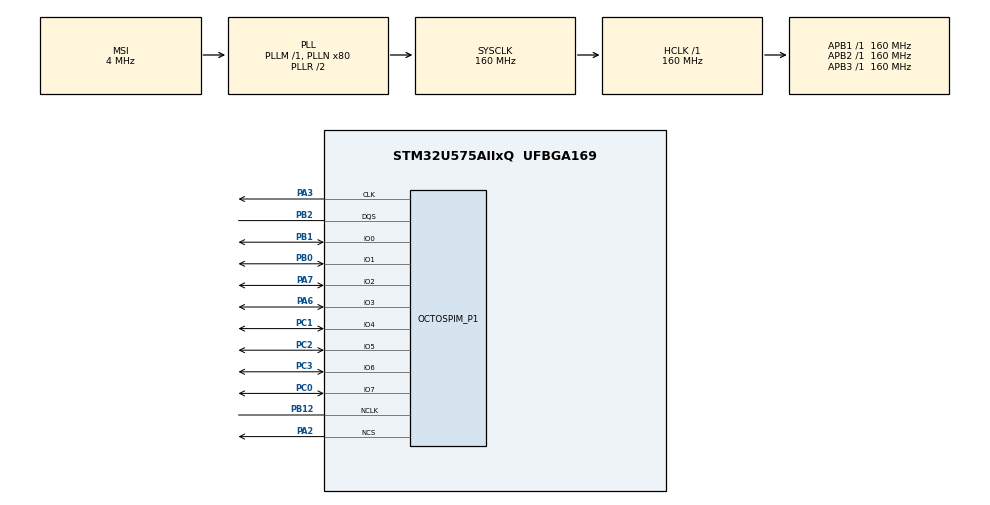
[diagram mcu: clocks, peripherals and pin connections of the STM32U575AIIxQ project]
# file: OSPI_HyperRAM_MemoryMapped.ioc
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CORTEX_M33_NS.userName=CORTEX_M33
DCACHE1.DCACHE_Read_Burst_Type=DCACHE_READ_BURST_INCR
Mcu.Family=STM32U5
Mcu.Name=STM32U575AIIxQ
Mcu.Package=UFBGA169
NVIC.OCTOSPI1_IRQn=true\:0\:0\:false\:false\:true\:true\:true\:true
NVIC.PriorityGroup=NVIC_PRIORITYGROUP_4
OCTOSPI1.ClockPrescaler=4
OCTOSPI1.DelayBlockBypass=HAL_OSPI_DELAY_BLOCK_USED
OCTOSPI1.DelayHoldQuarterCycle=HAL_OSPI_DHQC_ENABLE
OCTOSPI1.DeviceSize=23
OCTOSPI1.FifoThreshold=2
OCTOSPI1.PhaseSel=0x2
OCTOSPI1.Units=0x38
PA2.GPIO_PuPd=GPIO_NOPULL
PA2.GPIO_Speed_High_Default=GPIO_SPEED_FREQ_HIGH
PA2.Mode=OCTOSPI1_Port1_NCS
PA2.Signal=OCTOSPIM_P1_NCS
PA3.GPIO_Speed_High_Default=GPIO_SPEED_FREQ_HIGH
PA3.Mode=O1_P1_CLK
PA3.Signal=OCTOSPIM_P1_CLK
PA6.GPIO_Speed_High_Default=GPIO_SPEED_FREQ_HIGH
PA6.Mode=OCTOSPI1_IOL_Port1L
PA6.Signal=OCTOSPIM_P1_IO3
PA7.GPIO_Speed_High_Default=GPIO_SPEED_FREQ_HIGH
PA7.Mode=OCTOSPI1_IOL_Port1L
PA7.Signal=OCTOSPIM_P1_IO2
PB0.GPIO_Speed_High_Default=GPIO_SPEED_FREQ_HIGH
PB0.Mode=OCTOSPI1_IOL_Port1L
PB0.Signal=OCTOSPIM_P1_IO1
PB1.GPIO_Speed_High_Default=GPIO_SPEED_FREQ_HIGH
PB1.Mode=OCTOSPI1_IOL_Port1L
PB1.Signal=OCTOSPIM_P1_IO0
PB12.GPIO_Speed_High_Default=GPIO_SPEED_FREQ_HIGH
PB12.Mode=OCTOSPI1_Port1_NCLK
PB12.Signal=OCTOSPIM_P1_NCLK
PB2.GPIO_PuPd=GPIO_NOPULL
PB2.GPIO_Speed_High_Default=GPIO_SPEED_FREQ_HIGH
PB2.Mode=OCTOSPI1_Port1_DQS
PB2.Signal=OCTOSPIM_P1_DQS
PC0.GPIO_Speed_High_Default=GPIO_SPEED_FREQ_HIGH
PC0.Mode=OCTOSPI1_IOH_Port1H
PC0.Signal=OCTOSPIM_P1_IO7
PC1.GPIO_Speed_High_Default=GPIO_SPEED_FREQ_HIGH
PC1.Mode=OCTOSPI1_IOH_Port1H
PC1.Signal=OCTOSPIM_P1_IO4
PC2.GPIO_Speed_High_Default=GPIO_SPEED_FREQ_HIGH
PC2.Mode=OCTOSPI1_IOH_Port1H
PC2.Signal=OCTOSPIM_P1_IO5
PC3.GPIO_Speed_High_Default=GPIO_SPEED_FREQ_HIGH
PC3.Mode=OCTOSPI1_IOH_Port1H
PC3.Signal=OCTOSPIM_P1_IO6
PWR.PowerMode=PWR_SMPS_SUPPLY
ProjectManager.HeapSize=0x200
ProjectManager.StackSize=0x1000
ProjectManager.TargetToolchain=EWARM V8.50
RCC.ADCFreq_Value=16000000
RCC.AHBFreq_Value=160000000
RCC.APB1Freq_Value=160000000
RCC.APB1TimFreq_Value=160000000
RCC.APB2Freq_Value=160000000
RCC.APB2TimFreq_Value=160000000
RCC.APB3Freq_Value=160000000
RCC.CortexFreq_Value=160000000
RCC.DACCLockSelectionVirtual=RCC_DAC1CLKSOURCE_LSI
RCC.DACCLockSelectionVirtualString=RCC_DAC1CLKSOURCE_LSI
RCC.EPOD_VALUE=4000000
RCC.HCLKFreq_Value=160000000
RCC.HSE_VALUE=16000000
RCC.HSI48_VALUE=48000000
RCC.HSI_VALUE=16000000
RCC.LSE_VALUE=32768
RCC.LSIDIV_VALUE=32000
RCC.MSI_VALUE=4000000
RCC.PLLN=80
RCC.SYSCLKFreq_VALUE=160000000
RCC.SYSCLKSource=RCC_SYSCLKSOURCE_PLLCLK
RCC.USBFreq_Value=48000000
RCC.VCOOutputFreq_Value=320000000
VP_DCACHE1_VS_DCACHE.Mode=DCACHE_Activate
VP_ICACHE_VS_ICACHE.Mode=DirectMappedCache
VP_LPBAMQUEUE_VS_QUEUE.Mode=QUEUEMODE
VP_LPBAM_VS_SIG1.Mode=SmartRun
VP_LPBAM_VS_SIG4.Mode=LPDMA1
VP_OCTOSPI1_VS_hyperbus.Mode=hyperbus_mode
VP_PWR_VS_DBSignals.Mode=DisableDeadBatterySignals
VP_PWR_VS_LPOM.Mode=PowerOptimisation
VP_PWR_VS_SECSignals.Mode=Security/Privilege
board=custom

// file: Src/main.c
/* USER CODE BEGIN Header */
/**
  ******************************************************************************
  * @file           : main.c
  * @brief          : Main program body
  ******************************************************************************
  * @attention
  *
  * Copyright (c) 2021 STMicroelectronics.
  * All rights reserved.
  *
  * This software is licensed under terms that can be found in the LICENSE file
  * in the root directory of this software component.
  * If no LICENSE file comes with this software, it is provided AS-IS.
  *
  ******************************************************************************
  */
/* USER CODE END Header */
#include "main.h"

DCACHE_HandleTypeDef hdcache1;

OSPI_HandleTypeDef hospi1;

/* USER CODE BEGIN PV */
__IO uint8_t CmdCplt;
LL_DLYB_CfgTypeDef dlyb_cfg,dlyb_cfg_test;

/* Buffer used for transmission */
uint8_t aTxBuffer[] = " ****Memory-mapped OSPI communication****  ****Memory-mapped OSPI communication****  ****Memory-mapped OSPI communication****  ****Memory-mapped OSPI communication****  ****Memory-mapped OSPI communication****  ****Memory-mapped OSPI communication**** ";
  OSPI_HyperbusCfgTypeDef sHyperbusCfg = {0};
  OSPI_HyperbusCmdTypeDef sCommand = {0};
  OSPI_MemoryMappedTypeDef sMemMappedCfg = {0};

  uint32_t address = 0;
  uint16_t index_buffer;
  __IO uint8_t *mem_addr;
/* USER CODE END PV */

void SystemClock_Config(void);
static void SystemPower_Config(void);
static void MX_GPIO_Init(void);
static void MX_DCACHE1_Init(void);
static void MX_ICACHE_Init(void);
static void MX_OCTOSPI1_Init(void);

int main(void)
{

  /* USER CODE BEGIN 1 */
  /* STM32U5xx HAL library initialization:
  - Configure the Flash prefetch
  - Configure the Systick to generate an interrupt each 1 msec
  - Set NVIC Group Priority to 3
  - Low Level Initialization
  */
  /* USER CODE END 1 */

  /* MCU Configuration--------------------------------------------------------*/

  /* Reset of all peripherals, Initializes the Flash interface and the Systick. */
  HAL_Init();

  /* Configure the System Power */
  SystemPower_Config();

  /* Configure the system clock */
  SystemClock_Config();

  /* Initialize all configured peripherals */
  MX_GPIO_Init();
  MX_DCACHE1_Init();
  MX_ICACHE_Init();
  MX_OCTOSPI1_Init();
  /* USER CODE BEGIN 2 */
  BSP_LED_Init(LED_GREEN);
  BSP_LED_Init(LED_RED);
  /* Configure the Hyperbus to access memory space -------------------------- */
  sHyperbusCfg.RWRecoveryTime   = OSPI_HYPERRAM_RW_REC_TIME;
  sHyperbusCfg.AccessTime       = OSPI_HYPERRAM_LATENCY;
  sHyperbusCfg.WriteZeroLatency = HAL_OSPI_LATENCY_ON_WRITE;
  sHyperbusCfg.LatencyMode      = HAL_OSPI_FIXED_LATENCY;

  if (HAL_OSPI_HyperbusCfg(&hospi1, &sHyperbusCfg, HAL_OSPI_TIMEOUT_DEFAULT_VALUE) != HAL_OK)
  {
    Error_Handler();
  }

  /* Memory-mapped mode configuration --------------------------------------- */
  sCommand.AddressSpace = HAL_OSPI_MEMORY_ADDRESS_SPACE;
  sCommand.AddressSize  = HAL_OSPI_ADDRESS_32_BITS;
  sCommand.DQSMode      = HAL_OSPI_DQS_ENABLE;
  sCommand.Address      = 0;
  sCommand.NbData       = 1;

  if (HAL_OSPI_HyperbusCmd(&hospi1, &sCommand, HAL_OSPI_TIMEOUT_DEFAULT_VALUE) != HAL_OK)
  {
    Error_Handler();
  }

  sMemMappedCfg.TimeOutActivation = HAL_OSPI_TIMEOUT_COUNTER_ENABLE;
  sMemMappedCfg.TimeOutPeriod     = 0x20;

  if (HAL_OSPI_MemoryMapped(&hospi1, &sMemMappedCfg) != HAL_OK)
  {
    Error_Handler();
  }

  /* USER CODE END 2 */

  /* Infinite loop */
  /* USER CODE BEGIN WHILE */
  while (1)
  {
     /* Writing Sequence ----------------------------------------------- */
    mem_addr = (__IO uint8_t *)(OCTOSPI1_BASE + address);
    for (index_buffer = 0; index_buffer < BUFFERSIZE; index_buffer++)
    {
      *mem_addr = aTxBuffer[index_buffer];
      mem_addr++;
    }

    /* Reading Sequence ----------------------------------------------- */
    mem_addr = (__IO uint8_t *)(OCTOSPI1_BASE + address);
    for (index_buffer = 0; index_buffer < BUFFERSIZE; index_buffer++)
    {
      if (*mem_addr != aTxBuffer[index_buffer])
      {
        BSP_LED_On(LED_RED);
      }
      mem_addr++;
    }
    BSP_LED_Toggle(LED_GREEN);
    HAL_Delay(50);

    address += OSPI_HYPERRAM_INCR_SIZE;
    if(address >= OSPI_HYPERRAM_END_ADDR)
    {
      address = 0;
    }

    /* USER CODE END WHILE */

  }
}

void SystemClock_Config(void)
{
  RCC_OscInitTypeDef RCC_OscInitStruct = {0};
  RCC_ClkInitTypeDef RCC_ClkInitStruct = {0};

  /** Configure the main internal regulator output voltage
  */
  if (HAL_PWREx_ControlVoltageScaling(PWR_REGULATOR_VOLTAGE_SCALE1) != HAL_OK)
  {
    Error_Handler();
  }

  /** Initializes the CPU, AHB and APB buses clocks
  */
  RCC_OscInitStruct.OscillatorType = RCC_OSCILLATORTYPE_MSI;
  RCC_OscInitStruct.MSIState = RCC_MSI_ON;
  RCC_OscInitStruct.MSICalibrationValue = RCC_MSICALIBRATION_DEFAULT;
  RCC_OscInitStruct.MSIClockRange = RCC_MSIRANGE_4;
  RCC_OscInitStruct.PLL.PLLState = RCC_PLL_ON;
  RCC_OscInitStruct.PLL.PLLSource = RCC_PLLSOURCE_MSI;
  RCC_OscInitStruct.PLL.PLLMBOOST = RCC_PLLMBOOST_DIV1;
  RCC_OscInitStruct.PLL.PLLM = 1;
  RCC_OscInitStruct.PLL.PLLN = 80;
  RCC_OscInitStruct.PLL.PLLP = 2;
  RCC_OscInitStruct.PLL.PLLQ = 2;
  RCC_OscInitStruct.PLL.PLLR = 2;
  RCC_OscInitStruct.PLL.PLLRGE = RCC_PLLVCIRANGE_0;
  RCC_OscInitStruct.PLL.PLLFRACN = 0;
  if (HAL_RCC_OscConfig(&RCC_OscInitStruct) != HAL_OK)
  {
    Error_Handler();
  }

  /** Initializes the CPU, AHB and APB buses clocks
  */
  RCC_ClkInitStruct.ClockType = RCC_CLOCKTYPE_HCLK|RCC_CLOCKTYPE_SYSCLK
                              |RCC_CLOCKTYPE_PCLK1|RCC_CLOCKTYPE_PCLK2
                              |RCC_CLOCKTYPE_PCLK3;
  RCC_ClkInitStruct.SYSCLKSource = RCC_SYSCLKSOURCE_PLLCLK;
  RCC_ClkInitStruct.AHBCLKDivider = RCC_SYSCLK_DIV1;
  RCC_ClkInitStruct.APB1CLKDivider = RCC_HCLK_DIV1;
  RCC_ClkInitStruct.APB2CLKDivider = RCC_HCLK_DIV1;
  RCC_ClkInitStruct.APB3CLKDivider = RCC_HCLK_DIV1;

  if (HAL_RCC_ClockConfig(&RCC_ClkInitStruct, FLASH_LATENCY_4) != HAL_OK)
  {
    Error_Handler();
  }
}

/**
  * @brief Power Configuration
  * @retval None
  */
static void SystemPower_Config(void)
{

  /*
   * Disable the internal Pull-Up in Dead Battery pins of UCPD peripheral
   */
  HAL_PWREx_DisableUCPDDeadBattery();

  /*
   * Switch to SMPS regulator instead of LDO
   */
  if (HAL_PWREx_ConfigSupply(PWR_SMPS_SUPPLY) != HAL_OK)
  {
    Error_Handler();
  }
}

static void MX_DCACHE1_Init(void)
{

  hdcache1.Instance = DCACHE1;
  hdcache1.Init.ReadBurstType = DCACHE_READ_BURST_INCR;
  if (HAL_DCACHE_Init(&hdcache1) != HAL_OK)
  {
    Error_Handler();
  }

}

static void MX_ICACHE_Init(void)
{

  /** Enable instruction cache in 1-way (direct mapped cache)
  */
  if (HAL_ICACHE_ConfigAssociativityMode(ICACHE_1WAY) != HAL_OK)
  {
    Error_Handler();
  }
  if (HAL_ICACHE_Enable() != HAL_OK)
  {
    Error_Handler();
  }

}

static void MX_OCTOSPI1_Init(void)
{

  OSPIM_CfgTypeDef sOspiManagerCfg = {0};
  OSPI_HyperbusCfgTypeDef sHyperBusCfg = {0};
  HAL_OSPI_DLYB_CfgTypeDef HAL_OSPI_DLYB_Cfg_Struct = {0};

  /* OCTOSPI1 parameter configuration*/
  hospi1.Instance = OCTOSPI1;
  hospi1.Init.FifoThreshold = 2;
  hospi1.Init.DualQuad = HAL_OSPI_DUALQUAD_DISABLE;
  hospi1.Init.MemoryType = HAL_OSPI_MEMTYPE_HYPERBUS;
  hospi1.Init.DeviceSize = 23;
  hospi1.Init.ChipSelectHighTime = 1;
  hospi1.Init.FreeRunningClock = HAL_OSPI_FREERUNCLK_DISABLE;
  hospi1.Init.ClockMode = HAL_OSPI_CLOCK_MODE_0;
  hospi1.Init.WrapSize = HAL_OSPI_WRAP_NOT_SUPPORTED;
  hospi1.Init.ClockPrescaler = 4;
  hospi1.Init.SampleShifting = HAL_OSPI_SAMPLE_SHIFTING_NONE;
  hospi1.Init.DelayHoldQuarterCycle = HAL_OSPI_DHQC_ENABLE;
  hospi1.Init.ChipSelectBoundary = 0;
  hospi1.Init.DelayBlockBypass = HAL_OSPI_DELAY_BLOCK_USED;
  hospi1.Init.MaxTran = 0;
  hospi1.Init.Refresh = 0;
  if (HAL_OSPI_Init(&hospi1) != HAL_OK)
  {
    Error_Handler();
  }
  sOspiManagerCfg.ClkPort = 1;
  sOspiManagerCfg.DQSPort = 1;
  sOspiManagerCfg.NCSPort = 1;
  sOspiManagerCfg.IOLowPort = HAL_OSPIM_IOPORT_1_LOW;
  sOspiManagerCfg.IOHighPort = HAL_OSPIM_IOPORT_1_HIGH;
  if (HAL_OSPIM_Config(&hospi1, &sOspiManagerCfg, HAL_OSPI_TIMEOUT_DEFAULT_VALUE) != HAL_OK)
  {
    Error_Handler();
  }
  sHyperBusCfg.RWRecoveryTime = 0;
  sHyperBusCfg.AccessTime = 0;
  sHyperBusCfg.WriteZeroLatency = HAL_OSPI_NO_LATENCY_ON_WRITE;
  sHyperBusCfg.LatencyMode = HAL_OSPI_VARIABLE_LATENCY;
  if (HAL_OSPI_HyperbusCfg(&hospi1, &sHyperBusCfg, HAL_OSPI_TIMEOUT_DEFAULT_VALUE) != HAL_OK)
  {
    Error_Handler();
  }
  HAL_OSPI_DLYB_Cfg_Struct.Units = 0x38;
  HAL_OSPI_DLYB_Cfg_Struct.PhaseSel = 0x2;
  if (HAL_OSPI_DLYB_SetConfig(&hospi1, &HAL_OSPI_DLYB_Cfg_Struct) != HAL_OK)
  {
    Error_Handler();
  }

}

static void MX_GPIO_Init(void)
{

  /* GPIO Ports Clock Enable */
  __HAL_RCC_GPIOC_CLK_ENABLE();
  __HAL_RCC_GPIOA_CLK_ENABLE();
  __HAL_RCC_GPIOB_CLK_ENABLE();

}

void Error_Handler(void)
{
  __disable_irq();
  while (1)
  {
  }
}
